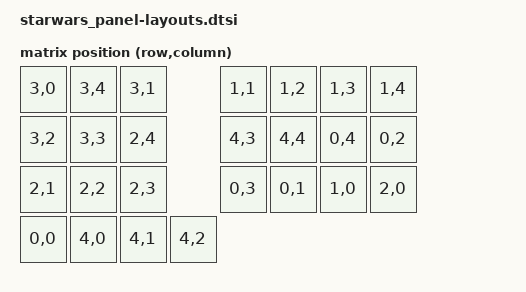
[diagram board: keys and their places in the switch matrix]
/*
 * Matrix transform + physical layout.
 *
 * Key position N in the keymap = Nth entry in `map`.
 * Matrix order (row-major) is kept so wiring stays trivial; if your panel
 * wires differently, only edit the RC() entries here.
 *
 *   pos 0-8   : 9-key number cluster  -> R0C0..R0C4, R1C0..R1C3
 *   pos 9-12  : 4-key group           -> R1C4, R2C0..R2C2
 *   pos 13-14 : 2-key group A         -> R2C3, R2C4
 *   pos 15-16 : 2-key group B         -> R3C0, R3C1
 *   pos 17-18 : 2-key group C         -> R3C2, R3C3
 *   pos 19-22 : 4-key group           -> R3C4, R4C0..R4C2
 *   pos 23-24 : flip switches A and B, wired into the matrix -> R1C0, R2C0
 *
 * The physical layout below is a PLACEHOLDER grid (units of 1/100 key) used by
 * tools like ZMK Studio / keymap editors. Edit x/y to match your real panel.
 */

#include <dt-bindings/zmk/matrix_transform.h>
#include <physical_layouts.dtsi>

/ {
	chosen {
		zmk,physical-layout = &physical_layout0;
	};

	default_transform: keymap_transform_0 {
		compatible = "zmk,matrix-transform";
		columns = <5>;
		rows = <5>;
		map = <
				RC(3,0)			RC(3,4)
			RC(3,1) RC(3,2) RC(3,3) RC(2,4)
			RC(2,1) RC(2,2) RC(2,3)
			RC(1,1) RC(1,2) RC(1,3) RC(1,4)
				RC(4,3) 	RC(4,4)

			RC(0,4) RC(0,2)
			RC(0,3) RC(0,1)
			RC(0,0) RC(4,0) RC(4,1) RC(4,2)
			RC(1,0) RC(2,0)
		>;
	};

	physical_layout0: physical_layout_0 {
		compatible = "zmk,physical-layout";
		display-name = "Star Wars Panel";
		transform = <&default_transform>;

		/*                  w   h    x    y  rot rx ry */
		keys  // 9-key cluster (3x3), pos 0-8
			= <&key_physical_attrs 100 100   0   0 0 0 0>
			, <&key_physical_attrs 100 100 100   0 0 0 0>
			, <&key_physical_attrs 100 100 200   0 0 0 0>
			, <&key_physical_attrs 100 100   0 100 0 0 0>
			, <&key_physical_attrs 100 100 100 100 0 0 0>
			, <&key_physical_attrs 100 100 200 100 0 0 0>
			, <&key_physical_attrs 100 100   0 200 0 0 0>
			, <&key_physical_attrs 100 100 100 200 0 0 0>
			, <&key_physical_attrs 100 100 200 200 0 0 0>
			// 4-key group, pos 9-12
			, <&key_physical_attrs 100 100 400   0 0 0 0>
			, <&key_physical_attrs 100 100 500   0 0 0 0>
			, <&key_physical_attrs 100 100 600   0 0 0 0>
			, <&key_physical_attrs 100 100 700   0 0 0 0>
			// 2-key group A, pos 13-14
			, <&key_physical_attrs 100 100 400 100 0 0 0>
			, <&key_physical_attrs 100 100 500 100 0 0 0>
			// 2-key group B, pos 15-16
			, <&key_physical_attrs 100 100 600 100 0 0 0>
			, <&key_physical_attrs 100 100 700 100 0 0 0>
			// 2-key group C, pos 17-18
			, <&key_physical_attrs 100 100 400 200 0 0 0>
			, <&key_physical_attrs 100 100 500 200 0 0 0>
			// 4-key group, pos 19-22
			, <&key_physical_attrs 100 100   0 300 0 0 0>
			, <&key_physical_attrs 100 100 100 300 0 0 0>
			, <&key_physical_attrs 100 100 200 300 0 0 0>
			, <&key_physical_attrs 100 100 300 300 0 0 0>
			// Matrix toggle switches A and B, pos 23-24
			, <&key_physical_attrs 100 100 600 200 0 0 0>
			, <&key_physical_attrs 100 100 700 200 0 0 0>
			;
	};
};
